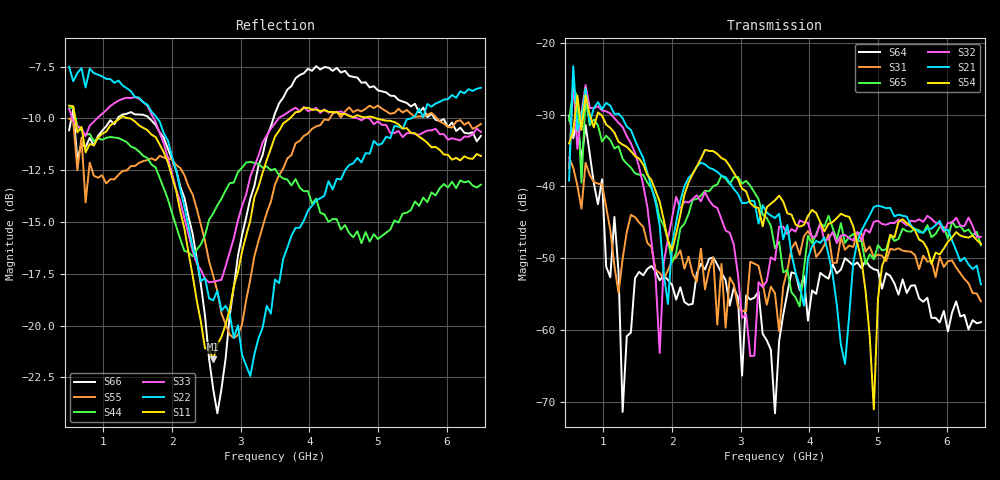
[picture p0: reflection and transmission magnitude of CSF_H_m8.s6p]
!Keysight Technologies,M9804A,MY58100912,A.14.10.03
!Date: Thursday, April 27, 2023 10:28:33
!Correction: S11(C  6-Port  )
!S12(C  6-Port  )
!S13(C  6-Port  )
!S14(C  6-Port  )
!S15(C  6-Port  )
!S16(C  6-Port  )
!S21(C  6-Port  )
!S22(C  6-Port  )
!S23(C  6-Port  )
!S24(C  6-Port  )
!S25(C  6-Port  )
!S26(C  6-Port  )
!S31(C  6-Port  )
!S32(C  6-Port  )
!S33(C  6-Port  )
!S34(C  6-Port  )
!S35(C  6-Port  )
!S36(C  6-Port  )
!S41(C  6-Port  )
!S42(C  6-Port  )
!S43(C  6-Port  )
!S44(C  6-Port  )
!S45(C  6-Port  )
!S46(C  6-Port  )
!S51(C  6-Port  )
!S52(C  6-Port  )
!S53(C  6-Port  )
!S54(C  6-Port  )
!S55(C  6-Port  )
!S56(C  6-Port  )
!S61(C  6-Port  )
!S62(C  6-Port  )
!S63(C  6-Port  )
!S64(C  6-Port  )
!S65(C  6-Port  )
!S66(C  6-Port  )
!S6P File: Measurement: :
# Hz S  RI  R 50
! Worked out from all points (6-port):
!   101 points, 500 MHz to 6.5 GHz, reference 50 ohm
!   strongest paths, dB at 500 MHz, 2 GHz, 3.5 GHz, 5 GHz, 6.5 GHz:
!     S54: -34.0, -48.9, -41.9, -55.6, -48.0
!     S21: -39.2, -48.0, -44.4, -42.7, -53.6
!     S32: -37.5, -44.3, -50.2, -44.8, -47.0
!     S65: -30.8, -50.6, -48.6, -48.2, -48.2
!     S31: -36.0, -50.3, -54.9, -49.5, -56.0
!     S64: -30.2, -53.7, -71.5, -51.7, -58.9
!   lowest |S11| = -21.6 dB at 2.6 GHz (marker M1), VSWR 1.18, Z = 42.6 + j2.04 ohm
!   |S11| at or under -10 dB: 587.8 MHz to 1.24 GHz (652.3 MHz wide, 71.4 % of centre); 1.374 GHz to 3.715 GHz (2.341 GHz wide, 92 % of centre); 4.975 GHz to end of sweep
